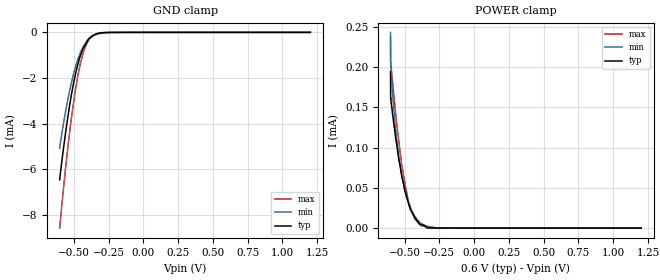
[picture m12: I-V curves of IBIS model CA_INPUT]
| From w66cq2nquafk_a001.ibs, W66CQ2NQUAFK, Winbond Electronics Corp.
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[Model]   CA_INPUT
Model_type   Input
Vinl = 0.0725
Vinh = 0.2275
|   typ   min   max
C_comp   0.57pF   0.52pF   0.62pF
[Voltage Range]   0.6   0.57   0.65
[Temperature Range]   25   105   -40
[Power Clamp Reference]   0.6   0.57   0.65
[GND Clamp Reference]   0   0   0
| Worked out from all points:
|   GND clamp passes 1 mA (typ) near -0.45 V on its own axis
[GND Clamp]
|   Voltage   I(typ)   I(min)   I(max)
-600.6mV  -6.468mA   -5.087mA   -8.588mA
-586.8mV  -5.723mA   -4.498mA   -7.663mA
-558.4mV  -4.396mA   -3.468mA   -5.943mA
-521.3mV  -2.904mA   -2.334mA   -3.971mA
-492.8mV  -1.98mA    -1.629mA   -2.709mA
-470.7mV  -1.414mA   -1.192mA   -1.902mA
-451.8mV  -1.023mA   -889.1uA   -1.353mA
-427.1mV  -635.4uA   -586.5uA   -802uA
-401.6mV  -369.1uA   -362.3uA   -437.5uA
-360.8mV  -132.8uA   -162.1uA   -133.4uA
-226.1mV  -2.181uA   -5.32uA    0A
1.201V    0A         0A         0A
[POWER Clamp]
|   Voltage   I(typ)   I(min)   I(max)
-600.6mV  194.5uA    243.3uA    237.7uA
-600mV    163uA      207.9uA    208.4uA
-581.8mV  136.8uA    157.4uA    173.2uA
-558.4mV  106uA      113.3uA    132.5uA
-531mV    76.48uA    77.23uA    93.63uA
-521.3mV  65.94uA    67.45uA    79.9uA
-497.4mV  45.91uA    47.7uA     55.89uA
-470.7mV  30.31uA    31.45uA    32.16uA
-427.8mV  13.82uA    15.11uA    11.81uA
-382.2mV  4.604uA    6.214uA    2.837uA
-272.8mV  173.9nA    452.2nA    0A
1.201V    0A         0A         0A
